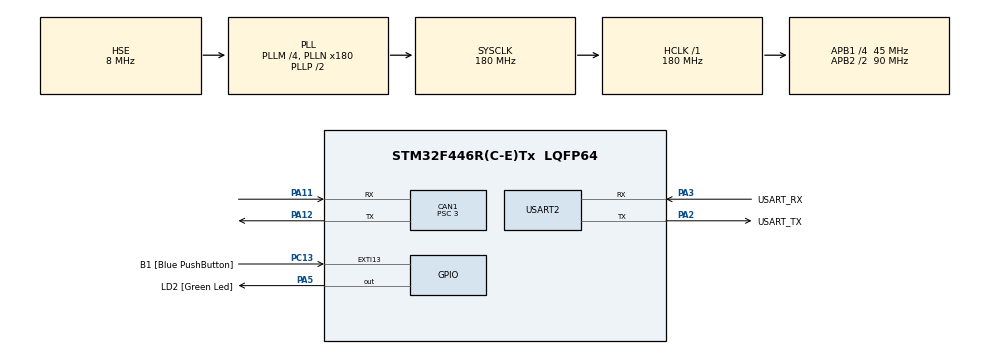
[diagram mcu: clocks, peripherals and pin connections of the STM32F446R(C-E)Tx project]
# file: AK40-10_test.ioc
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CAN1.ABOM=ENABLE
CAN1.BS1=CAN_BS1_12TQ
CAN1.BS2=CAN_BS2_2TQ
CAN1.CalculateBaudRate=1000000
CAN1.CalculateTimeBit=1000
CAN1.CalculateTimeQuantum=66.66666666666666
CAN1.Mode=CAN_MODE_NORMAL
CAN1.NART=ENABLE
CAN1.Prescaler=3
Mcu.Family=STM32F4
Mcu.Name=STM32F446R(C-E)Tx
Mcu.Package=LQFP64
NVIC.PriorityGroup=NVIC_PRIORITYGROUP_0
PA11.Mode=CAN_Activate
PA11.Signal=CAN1_RX
PA12.Mode=CAN_Activate
PA12.Signal=CAN1_TX
PA13.GPIO_Label=TMS
PA13.Mode=Serial_Wire
PA13.Signal=SYS_JTMS-SWDIO
PA14.GPIO_Label=TCK
PA14.Mode=Serial_Wire
PA14.Signal=SYS_JTCK-SWCLK
PA2.GPIO_Label=USART_TX
PA2.Mode=Asynchronous
PA2.Signal=USART2_TX
PA3.GPIO_Label=USART_RX
PA3.Mode=Asynchronous
PA3.Signal=USART2_RX
PA5.GPIO_Label=LD2 [Green Led]
PA5.Signal=GPIO_Output
PB3.GPIO_Label=SWO
PB3.Signal=SYS_JTDO-SWO
PC13.GPIO_Label=B1 [Blue PushButton]
PC13.GPIO_ModeDefaultEXTI=GPIO_MODE_IT_FALLING
PC13.Signal=GPXTI13
PC14-OSC32_IN.Mode=LSE-External-Oscillator
PC14-OSC32_IN.Signal=RCC_OSC32_IN
PC15-OSC32_OUT.Mode=LSE-External-Oscillator
PC15-OSC32_OUT.Signal=RCC_OSC32_OUT
PH0-OSC_IN.Mode=HSE-External-Oscillator
PH0-OSC_IN.Signal=RCC_OSC_IN
PH1-OSC_OUT.Mode=HSE-External-Oscillator
PH1-OSC_OUT.Signal=RCC_OSC_OUT
ProjectManager.HeapSize=0x200
ProjectManager.StackSize=0x400
ProjectManager.TargetToolchain=CMake
RCC.48MHZClocksFreq_Value=84000000
RCC.AHBFreq_Value=180000000
RCC.APB1CLKDivider=RCC_HCLK_DIV4
RCC.APB1Freq_Value=45000000
RCC.APB1TimFreq_Value=90000000
RCC.APB2CLKDivider=RCC_HCLK_DIV2
RCC.APB2Freq_Value=90000000
RCC.APB2TimFreq_Value=180000000
RCC.CortexFreq_Value=180000000
RCC.FLatency-AdvancedSettings=FLASH_LATENCY_5
RCC.HCLKFreq_Value=180000000
RCC.HSE_VALUE=8000000
RCC.HSI_VALUE=16000000
RCC.PLLM=4
RCC.PLLN=180
RCC.PLLSourceVirtual=RCC_PLLSOURCE_HSE
RCC.SYSCLKFreq_VALUE=180000000
RCC.SYSCLKSource=RCC_SYSCLKSOURCE_PLLCLK
RCC.USBFreq_Value=180000000
RCC.VCOOutputFreq_Value=360000000
USART2.VirtualMode=VM_ASYNC
board=NUCLEO-F446RE

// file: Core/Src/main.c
/* USER CODE BEGIN Header */
/**
  ******************************************************************************
  * @file           : main.c
  * @brief          : Main program body
  ******************************************************************************
  * @attention
  *
  * Copyright (c) 2026 STMicroelectronics.
  * All rights reserved.
  *
  * This software is licensed under terms that can be found in the LICENSE file
  * in the root directory of this software component.
  * If no LICENSE file comes with this software, it is provided AS-IS.
  *
  ******************************************************************************
  */
/* USER CODE END Header */
#include "main.h"

/* USER CODE BEGIN Includes */
#include "AK40-10.h"
#include "stm32f4xx_hal_can.h"
/* USER CODE END Includes */

CAN_HandleTypeDef hcan1;

UART_HandleTypeDef huart2;

/* USER CODE BEGIN PV */
float p_current = 0.0;
float v_current = 0.0;
float I_current = 0.0;
uint8_t motor_fault_code = 0;
uint8_t target_motor_id = 0;
/* USER CODE END PV */

void SystemClock_Config(void);
static void MX_GPIO_Init(void);
static void MX_CAN1_Init(void);
static void MX_USART2_UART_Init(void);

int main(void)
{

  /* MCU Configuration--------------------------------------------------------*/

  /* Reset of all peripherals, Initializes the Flash interface and the Systick. */
  HAL_Init();

  /* Configure the system clock */
  SystemClock_Config();

  /* Initialize all configured peripherals */
  MX_GPIO_Init();
  MX_CAN1_Init();
  MX_USART2_UART_Init();
  /* USER CODE BEGIN 2 */
  // Configure CAN filter to receive all messages (for debugging)
  CAN_FilterTypeDef canfilterconfig = {0};
  canfilterconfig.FilterActivation = CAN_FILTER_ENABLE;
  canfilterconfig.FilterBank = 0;
  canfilterconfig.FilterFIFOAssignment = CAN_RX_FIFO0;
  canfilterconfig.FilterIdHigh = 0x0000;
  canfilterconfig.FilterIdLow = 0x0000;
  canfilterconfig.FilterMaskIdHigh = 0x0000;
  canfilterconfig.FilterMaskIdLow = 0x0000;
  canfilterconfig.FilterMode = CAN_FILTERMODE_IDMASK;
  canfilterconfig.FilterScale = CAN_FILTERSCALE_32BIT;
  canfilterconfig.SlaveStartFilterBank = 14; // Not used in single CAN setup
  HAL_CAN_ConfigFilter(&hcan1, &canfilterconfig);

  if (HAL_CAN_Start(&hcan1) != HAL_OK) {
    Error_Handler();
  }
  /* USER CODE END 2 */

  /* Infinite loop */
  /* USER CODE BEGIN WHILE */
  while (1)
  {
    AK40_SetDutyCycle(0.25f); // Set a small duty cycle to test the motor response

    // Read the automatic Servo telemetry stream
    while (HAL_CAN_GetRxFifoFillLevel(&hcan1, CAN_RX_FIFO0) > 0)
    {
      AK40_ReadResponse(&p_current, &v_current, &I_current, &motor_fault_code, &target_motor_id);
    }

    HAL_Delay(10); // Maintain 100hz loop
    /* USER CODE END WHILE */

  }
}

void SystemClock_Config(void)
{
  RCC_OscInitTypeDef RCC_OscInitStruct = {0};
  RCC_ClkInitTypeDef RCC_ClkInitStruct = {0};

  /** Configure the main internal regulator output voltage
  */
  __HAL_RCC_PWR_CLK_ENABLE();
  __HAL_PWR_VOLTAGESCALING_CONFIG(PWR_REGULATOR_VOLTAGE_SCALE1);

  /** Initializes the RCC Oscillators according to the specified parameters
  * in the RCC_OscInitTypeDef structure.
  */
  RCC_OscInitStruct.OscillatorType = RCC_OSCILLATORTYPE_HSE;
  RCC_OscInitStruct.HSEState = RCC_HSE_ON;
  RCC_OscInitStruct.PLL.PLLState = RCC_PLL_ON;
  RCC_OscInitStruct.PLL.PLLSource = RCC_PLLSOURCE_HSE;
  RCC_OscInitStruct.PLL.PLLM = 4;
  RCC_OscInitStruct.PLL.PLLN = 180;
  RCC_OscInitStruct.PLL.PLLP = RCC_PLLP_DIV2;
  RCC_OscInitStruct.PLL.PLLQ = 2;
  RCC_OscInitStruct.PLL.PLLR = 2;
  if (HAL_RCC_OscConfig(&RCC_OscInitStruct) != HAL_OK)
  {
    Error_Handler();
  }

  /** Activate the Over-Drive mode
  */
  if (HAL_PWREx_EnableOverDrive() != HAL_OK)
  {
    Error_Handler();
  }

  /** Initializes the CPU, AHB and APB buses clocks
  */
  RCC_ClkInitStruct.ClockType = RCC_CLOCKTYPE_HCLK|RCC_CLOCKTYPE_SYSCLK
                              |RCC_CLOCKTYPE_PCLK1|RCC_CLOCKTYPE_PCLK2;
  RCC_ClkInitStruct.SYSCLKSource = RCC_SYSCLKSOURCE_PLLCLK;
  RCC_ClkInitStruct.AHBCLKDivider = RCC_SYSCLK_DIV1;
  RCC_ClkInitStruct.APB1CLKDivider = RCC_HCLK_DIV4;
  RCC_ClkInitStruct.APB2CLKDivider = RCC_HCLK_DIV2;

  if (HAL_RCC_ClockConfig(&RCC_ClkInitStruct, FLASH_LATENCY_5) != HAL_OK)
  {
    Error_Handler();
  }
}

static void MX_CAN1_Init(void)
{

  hcan1.Instance = CAN1;
  hcan1.Init.Prescaler = 3;
  hcan1.Init.Mode = CAN_MODE_NORMAL;
  hcan1.Init.SyncJumpWidth = CAN_SJW_1TQ;
  hcan1.Init.TimeSeg1 = CAN_BS1_12TQ;
  hcan1.Init.TimeSeg2 = CAN_BS2_2TQ;
  hcan1.Init.TimeTriggeredMode = DISABLE;
  hcan1.Init.AutoBusOff = ENABLE;
  hcan1.Init.AutoWakeUp = DISABLE;
  hcan1.Init.AutoRetransmission = ENABLE;
  hcan1.Init.ReceiveFifoLocked = DISABLE;
  hcan1.Init.TransmitFifoPriority = DISABLE;
  if (HAL_CAN_Init(&hcan1) != HAL_OK)
  {
    Error_Handler();
  }

}

static void MX_USART2_UART_Init(void)
{

  huart2.Instance = USART2;
  huart2.Init.BaudRate = 115200;
  huart2.Init.WordLength = UART_WORDLENGTH_8B;
  huart2.Init.StopBits = UART_STOPBITS_1;
  huart2.Init.Parity = UART_PARITY_NONE;
  huart2.Init.Mode = UART_MODE_TX_RX;
  huart2.Init.HwFlowCtl = UART_HWCONTROL_NONE;
  huart2.Init.OverSampling = UART_OVERSAMPLING_16;
  if (HAL_UART_Init(&huart2) != HAL_OK)
  {
    Error_Handler();
  }

}

static void MX_GPIO_Init(void)
{
  GPIO_InitTypeDef GPIO_InitStruct = {0};

  /* GPIO Ports Clock Enable */
  __HAL_RCC_GPIOC_CLK_ENABLE();
  __HAL_RCC_GPIOH_CLK_ENABLE();
  __HAL_RCC_GPIOA_CLK_ENABLE();
  __HAL_RCC_GPIOB_CLK_ENABLE();

  /*Configure GPIO pin Output Level */
  HAL_GPIO_WritePin(LD2_GPIO_Port, LD2_Pin, GPIO_PIN_RESET);

  /*Configure GPIO pin : B1_Pin */
  GPIO_InitStruct.Pin = B1_Pin;
  GPIO_InitStruct.Mode = GPIO_MODE_IT_FALLING;
  GPIO_InitStruct.Pull = GPIO_NOPULL;
  HAL_GPIO_Init(B1_GPIO_Port, &GPIO_InitStruct);

  /*Configure GPIO pin : LD2_Pin */
  GPIO_InitStruct.Pin = LD2_Pin;
  GPIO_InitStruct.Mode = GPIO_MODE_OUTPUT_PP;
  GPIO_InitStruct.Pull = GPIO_NOPULL;
  GPIO_InitStruct.Speed = GPIO_SPEED_FREQ_LOW;
  HAL_GPIO_Init(LD2_GPIO_Port, &GPIO_InitStruct);

}

void Error_Handler(void)
{
  __disable_irq();
  while (1)
  {
  }
}
